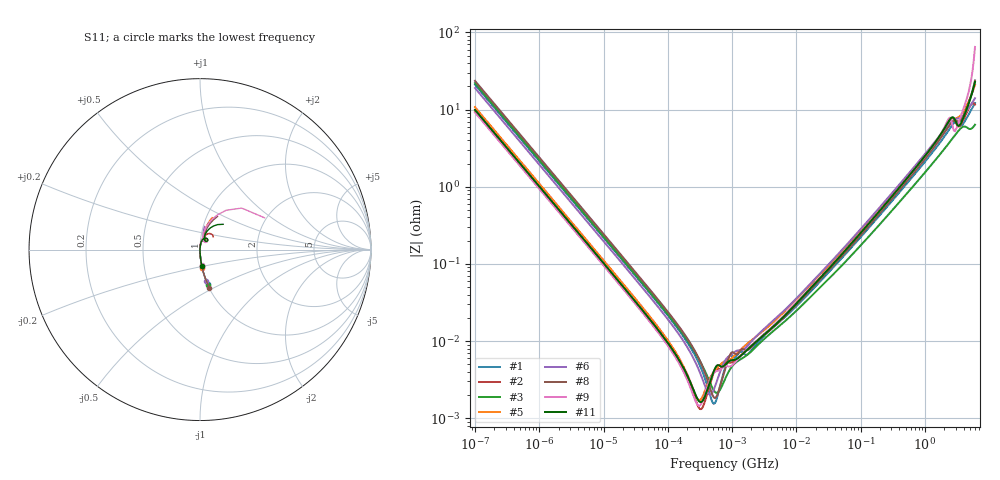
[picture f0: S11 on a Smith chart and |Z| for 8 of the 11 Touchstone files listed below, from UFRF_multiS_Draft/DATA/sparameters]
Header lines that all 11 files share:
!These Parameters are Measured in Series Mode Connection
!  o--ll--o
!Port1  Port2
!  o------o
!Freq. Start=100[Hz] Stop=6[GHz], 401[Steps]
# Hz S RI R 50
!Freq.(Hz) S11(Real) S11(Imag) S21(Real) S21(Imag) S12(Real) S12(Imag) S22(Real) S22(Imag)
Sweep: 100 Hz to 6 GHz
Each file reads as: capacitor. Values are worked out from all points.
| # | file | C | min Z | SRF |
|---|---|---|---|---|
| 1 | GCM32ED70E107ME36_DC0V_25degC_series.s2p | 75.4 uF | 1.54 mohm | 536.9 kHz |
| 2 | GCM32ED70E227ME35_DC0V_25degC_series.s2p | 166 uF | 1.32 mohm | 335.5 kHz |
| 3 | GRM21BC80E107ME15_DC0V_25degC_series.s2p | 71.9 uF | 2.14 mohm | 616.2 kHz |
| 4 | GRM21BD70E107ME01_DC0V_25degC_series.s2p | 68.3 uF | 2.3 mohm | 635 kHz |
| 5 | GRM31CC80E227ME11_DC0V_25degC_series.s2p | 148 uF | 1.72 mohm | 328.9 kHz |
| 6 | GRM31CD80G107MEA8_DC0V_25degC_series.s2p | 83.5 uF | 2.01 mohm | 475.3 kHz |
| 7 | GRM32EB30J107ME16_DC0V_20degC_series.s2p | 66.2 uF | 1.84 mohm | 565.2 kHz |
| 8 | GRM32EC70G107ME15_DC0V_25degC_series.s2p | 67.4 uF | 1.83 mohm | 558.2 kHz |
| 9 | GRM32EC80E227ME05_DC0V_25degC_series.s2p | 173 uF | 1.45 mohm | 322.1 kHz |
| 10 | GRM32EC80E337ME05_DC0V_25degC_series.s2p | 225 uF | 1.38 mohm | 275.2 kHz |
| 11 | GRM32EC80J227ME01_DC0V_25degC_series.s2p | 160 uF | 1.62 mohm | 339.5 kHz |
